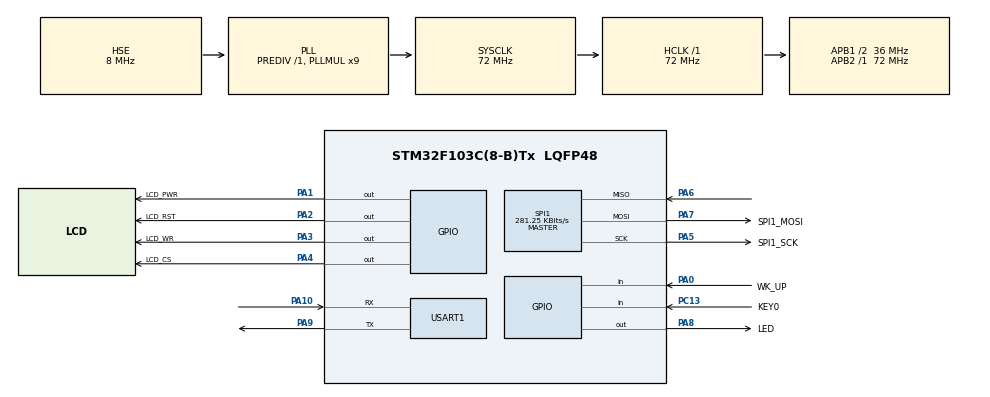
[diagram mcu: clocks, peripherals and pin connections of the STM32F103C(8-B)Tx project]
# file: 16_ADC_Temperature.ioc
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ADC1.Channel-0\#ChannelRegularConversion=ADC_CHANNEL_TEMPSENSOR
ADC1.NbrOfConversionFlag=1
ADC1.Rank-0\#ChannelRegularConversion=1
ADC1.SamplingTime-0\#ChannelRegularConversion=ADC_SAMPLETIME_239CYCLES_5
ADC1.master=1
Mcu.Family=STM32F1
Mcu.Name=STM32F103C(8-B)Tx
Mcu.Package=LQFP48
NVIC.PriorityGroup=NVIC_PRIORITYGROUP_2
NVIC.USART1_IRQn=true\:2\:0\:true\:false\:true\:true\:true\:true
PA0-WKUP.GPIO_Label=WK_UP
PA0-WKUP.GPIO_PuPd=GPIO_PULLDOWN
PA0-WKUP.Signal=GPIO_Input
PA1.GPIO_Label=LCD_PWR
PA1.GPIO_PuPd=GPIO_PULLUP
PA1.GPIO_Speed=GPIO_SPEED_FREQ_HIGH
PA1.PinState=GPIO_PIN_SET
PA1.Signal=GPIO_Output
PA10.Mode=Asynchronous
PA10.Signal=USART1_RX
PA13.Mode=Serial_Wire
PA13.Signal=SYS_JTMS-SWDIO
PA14.Mode=Serial_Wire
PA14.Signal=SYS_JTCK-SWCLK
PA2.GPIO_Label=LCD_RST
PA2.GPIO_PuPd=GPIO_PULLUP
PA2.GPIO_Speed=GPIO_SPEED_FREQ_HIGH
PA2.PinState=GPIO_PIN_SET
PA2.Signal=GPIO_Output
PA3.GPIO_Label=LCD_WR
PA3.GPIO_PuPd=GPIO_PULLUP
PA3.GPIO_Speed=GPIO_SPEED_FREQ_HIGH
PA3.PinState=GPIO_PIN_SET
PA3.Signal=GPIO_Output
PA4.GPIO_Label=LCD_CS
PA4.GPIO_PuPd=GPIO_PULLUP
PA4.GPIO_Speed=GPIO_SPEED_FREQ_HIGH
PA4.PinState=GPIO_PIN_SET
PA4.Signal=GPIO_Output
PA5.GPIO_Label=SPI1_SCK
PA5.Mode=Full_Duplex_Master
PA5.Signal=SPI1_SCK
PA6.Mode=Full_Duplex_Master
PA6.Signal=SPI1_MISO
PA7.GPIO_Label=SPI1_MOSI
PA7.Mode=Full_Duplex_Master
PA7.Signal=SPI1_MOSI
PA8.GPIO_Label=LED
PA8.GPIO_PuPd=GPIO_PULLUP
PA8.GPIO_Speed=GPIO_SPEED_FREQ_HIGH
PA8.PinState=GPIO_PIN_SET
PA8.Signal=GPIO_Output
PA9.Mode=Asynchronous
PA9.Signal=USART1_TX
PC13-TAMPER-RTC.GPIO_Label=KEY0
PC13-TAMPER-RTC.GPIO_PuPd=GPIO_PULLUP
PC13-TAMPER-RTC.Signal=GPIO_Input
PC14-OSC32_IN.Mode=LSE-External-Oscillator
PC14-OSC32_IN.Signal=RCC_OSC32_IN
PC15-OSC32_OUT.Mode=LSE-External-Oscillator
PC15-OSC32_OUT.Signal=RCC_OSC32_OUT
PD0-OSC_IN.Mode=HSE-External-Oscillator
PD0-OSC_IN.Signal=RCC_OSC_IN
PD1-OSC_OUT.Mode=HSE-External-Oscillator
PD1-OSC_OUT.Signal=RCC_OSC_OUT
ProjectManager.HeapSize=0x200
ProjectManager.StackSize=0x400
ProjectManager.TargetToolchain=STM32CubeIDE
RCC.AHBFreq_Value=72000000
RCC.APB1CLKDivider=RCC_HCLK_DIV2
RCC.APB1Freq_Value=36000000
RCC.APB1TimFreq_Value=72000000
RCC.APB2Freq_Value=72000000
RCC.APB2TimFreq_Value=72000000
RCC.HCLKFreq_Value=72000000
RCC.PLLMUL=RCC_PLL_MUL9
RCC.PLLSourceVirtual=RCC_PLLSOURCE_HSE
RCC.SYSCLKFreq_VALUE=72000000
RCC.SYSCLKSource=RCC_SYSCLKSOURCE_PLLCLK
RCC.USBFreq_Value=72000000
SPI1.BaudRatePrescaler=SPI_BAUDRATEPRESCALER_256
SPI1.CLKPhase=SPI_PHASE_2EDGE
SPI1.CLKPolarity=SPI_POLARITY_HIGH
SPI1.CalculateBaudRate=281.25 KBits/s
SPI1.Direction=SPI_DIRECTION_2LINES
SPI1.Mode=SPI_MODE_MASTER
SPI1.VirtualType=VM_MASTER
USART1.VirtualMode=VM_ASYNC
VP_ADC1_TempSens_Input.Mode=IN-TempSens
board=custom

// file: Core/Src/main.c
/**
 ****************************************************************************************************
 * @file        main.c
 * @author      ALIENTEK
 * @brief       ADC_Temperature code
 * @license     Copyright (C) 2020-2032, ALIENTEK
 ****************************************************************************************************
 * @attention
 *
 * platform  	: ALIENTEK STM32F103 development board
 * website		: https://www.alientek.com
 * forum		: http://www.openedv.com/forum.php
 *
 * change logs	:
 * version		data		notes
 * V1.0			20240222	the first version
 *
 ****************************************************************************************************
 */

/* USER CODE BEGIN Header */

/* USER CODE END Header */
#include "main.h"
#include "adc.h"
#include "spi.h"
#include "usart.h"
#include "gpio.h"

/* USER CODE BEGIN Includes */
#include "../../BSP/LED/led.h"
#include "../../BSP/KEY/key.h"
#include "../../BSP/LCD/lcd.h"
/* USER CODE END Includes */

void SystemClock_Config(void);

/* USER CODE BEGIN 0 */

void stm32f103c8t6_show_mesg(void)
{
	/* The serial port outputs the experimental information */
	printf("\n");
	printf("********************************\r\n");
	printf("STM32F103\r\n");
	printf("Temperature Test\r\n");
	printf("ATOM@ALIENTEK\r\n");
	printf("********************************\r\n");
	printf("\r\n");
}

/* USER CODE END 0 */

int main(void)
{
  /* USER CODE BEGIN 1 */
	short temp;

  /* USER CODE END 1 */

  /* MCU Configuration--------------------------------------------------------*/

  /* Reset of all peripherals, Initializes the Flash interface and the Systick. */
  HAL_Init();

  /* Configure the system clock */
  SystemClock_Config();

  /* Initialize all configured peripherals */
  MX_GPIO_Init();
  MX_USART1_UART_Init();
  MX_SPI1_Init();
  MX_ADC1_Init();
  /* USER CODE BEGIN 2 */

  stm32f103c8t6_show_mesg();
  lcd_init();
  lcd_show_string(0, 5, 240, 32, 32, "STM32F103C8T6", RED);
  lcd_show_string(0, 34, 240, 24, 24, "Temperature TEST", RED);
  lcd_show_string(0, 60, 240, 16, 16, "ATOM@ALIENTEK", RED);
  lcd_show_string(0, 80, 240, 16, 16, "TEMPERATE: 00.00C", BLUE);

  /* USER CODE END 2 */

  /* Infinite loop */
  /* USER CODE BEGIN WHILE */
  while (1)
  {
	  temp = adc_get_temperature();   							/* Get the temperature value */

	  if (temp < 0)
	  {
		  temp = -temp;
		  lcd_show_string(10 * 8, 80, 16, 16, 16, "-", BLUE);   /* Display negative sign */
	  }
	  else
	  {
		  lcd_show_string(10 * 8, 80, 16, 16, 16, " ", BLUE);   /* Unsigned */
	  }

	  printf("Temperature:%d.%dC°\r\n",temp / 100, temp % 100);
	  lcd_show_xnum(11 * 8, 80, temp / 100, 2, 16, 0, BLUE);    /* Display integer part */
	  lcd_show_xnum(14 * 8, 80, temp % 100, 2, 16, 0X80, BLUE); /* Display integer part */

	  LED_TOGGLE();       										/* LED state is flipped */
	  HAL_Delay(100);
    /* USER CODE END WHILE */

  }
}

void SystemClock_Config(void)
{
  RCC_OscInitTypeDef RCC_OscInitStruct = {0};
  RCC_ClkInitTypeDef RCC_ClkInitStruct = {0};
  RCC_PeriphCLKInitTypeDef PeriphClkInit = {0};

  /** Initializes the RCC Oscillators according to the specified parameters
  * in the RCC_OscInitTypeDef structure.
  */
  RCC_OscInitStruct.OscillatorType = RCC_OSCILLATORTYPE_HSE;
  RCC_OscInitStruct.HSEState = RCC_HSE_ON;
  RCC_OscInitStruct.HSEPredivValue = RCC_HSE_PREDIV_DIV1;
  RCC_OscInitStruct.HSIState = RCC_HSI_ON;
  RCC_OscInitStruct.PLL.PLLState = RCC_PLL_ON;
  RCC_OscInitStruct.PLL.PLLSource = RCC_PLLSOURCE_HSE;
  RCC_OscInitStruct.PLL.PLLMUL = RCC_PLL_MUL9;
  if (HAL_RCC_OscConfig(&RCC_OscInitStruct) != HAL_OK)
  {
    Error_Handler();
  }

  /** Initializes the CPU, AHB and APB buses clocks
  */
  RCC_ClkInitStruct.ClockType = RCC_CLOCKTYPE_HCLK|RCC_CLOCKTYPE_SYSCLK
                              |RCC_CLOCKTYPE_PCLK1|RCC_CLOCKTYPE_PCLK2;
  RCC_ClkInitStruct.SYSCLKSource = RCC_SYSCLKSOURCE_PLLCLK;
  RCC_ClkInitStruct.AHBCLKDivider = RCC_SYSCLK_DIV1;
  RCC_ClkInitStruct.APB1CLKDivider = RCC_HCLK_DIV2;
  RCC_ClkInitStruct.APB2CLKDivider = RCC_HCLK_DIV1;

  if (HAL_RCC_ClockConfig(&RCC_ClkInitStruct, FLASH_LATENCY_2) != HAL_OK)
  {
    Error_Handler();
  }
  PeriphClkInit.PeriphClockSelection = RCC_PERIPHCLK_ADC;
  PeriphClkInit.AdcClockSelection = RCC_ADCPCLK2_DIV2;
  if (HAL_RCCEx_PeriphCLKConfig(&PeriphClkInit) != HAL_OK)
  {
    Error_Handler();
  }
}

void Error_Handler(void)
{
  __disable_irq();
  while (1)
  {
  }
}
